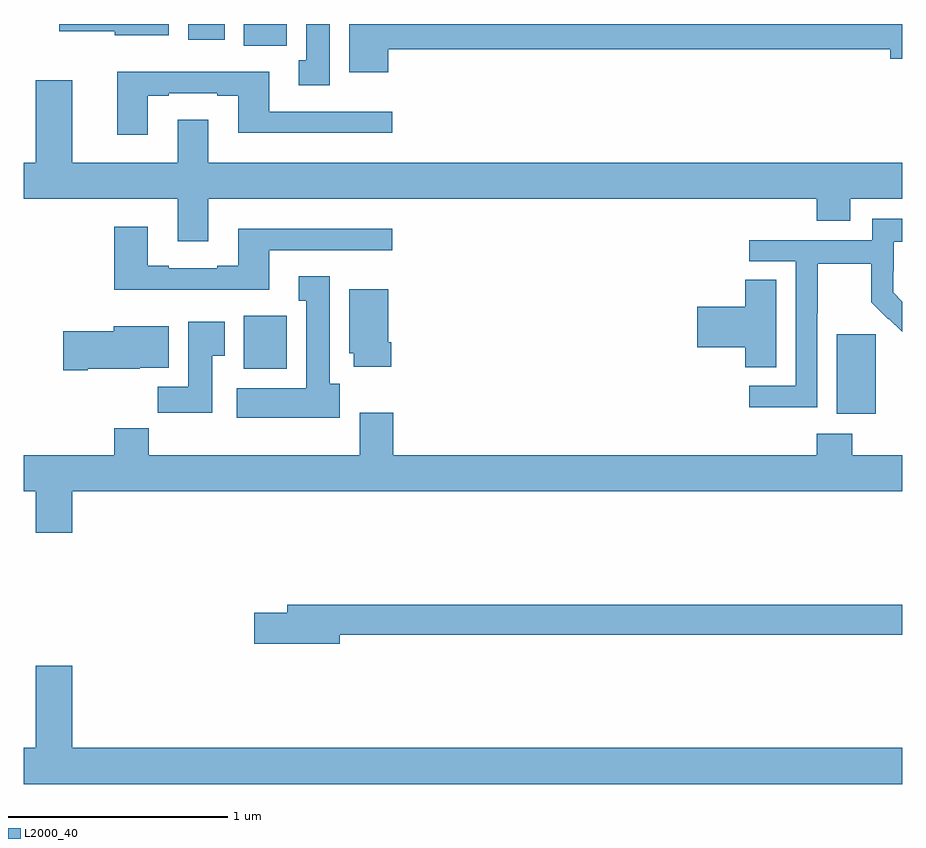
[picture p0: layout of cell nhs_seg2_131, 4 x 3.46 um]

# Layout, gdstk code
import gdstk
lib = gdstk.Library(unit=1e-6, precision=1e-09)
def R(c, l, rs):  # rectangles x0, y0, x1, y1
    for r in rs: c.add(gdstk.rectangle(r[:2], r[2:], *l))
def P(c, l, *ps):  # polygons
    for p in ps: c.add(gdstk.Polygon(p, *l))
L2000_40 = (2000, 40)

nhs_seg2_131 = lib.new_cell('nhs_seg2_131')
R(nhs_seg2_131, L2000_40, [(120.701,612.026,120.88,612.387), (118.001,612.23,118.198,612.472), (118.001,613.7,118.198,613.8), (117.749,613.728,117.916,613.8)])
P(nhs_seg2_131, L2000_40, [(118.393,613.8),(118.286,613.8),(118.286,613.634),(118.253,613.634),(118.253,613.521),(118.393,613.521)],
  [(118.66,613.684),(120.944,613.684),(120.944,613.642),(121,613.642),(121,613.8),(118.481,613.8),(118.481,613.58),(118.66,613.58)],
  [(117.661,613.8),(117.162,613.8),(117.162,613.766),(117.414,613.766),(117.414,613.748),(117.661,613.748)],
  [(117.565,613.473),(117.661,613.473),(117.661,613.485),(117.881,613.485),(117.881,613.473),(117.977,613.473),(117.977,613.304),(118.678,613.304),(118.678,613.401),(118.117,613.401),(118.117,613.582),(117.425,613.582),(117.425,613.296),(117.565,613.296)],
  [(117.841,613.004),(120.611,613.004),(120.611,612.905),(120.763,612.905),(120.763,613.004),(121,613.004),(121,613.168),(117.841,613.168),(117.841,613.363),(117.701,613.363),(117.701,613.168),(117.22,613.168),(117.22,613.543),(117.056,613.543),(117.056,613.168),(117,613.168),(117,613.004),(117.701,613.004),(117.701,612.81),(117.841,612.81)],
  [(120.612,612.484),(120.615,612.484),(120.615,612.708),(120.859,612.708),(120.859,612.533),(120.936,612.456),(120.939,612.459),(121,612.399),(121,612.536),(120.958,612.578),(120.958,612.675),(120.96,612.675),(120.96,612.809),(121,612.809),(121,612.913),(120.864,612.913),(120.864,612.816),(120.303,612.816),(120.303,612.72),(120.516,612.72),(120.516,612.153),(120.303,612.153),(120.303,612.055),(120.612,612.055)],
  [(118.117,612.771),(118.678,612.771),(118.678,612.868),(117.977,612.868),(117.977,612.7),(117.881,612.7),(117.881,612.687),(117.661,612.687),(117.661,612.7),(117.565,612.7),(117.565,612.877),(117.413,612.877),(117.413,612.59),(118.117,612.59)],
  [(118.438,612.162),(118.393,612.162),(118.393,612.652),(118.253,612.652),(118.253,612.539),(118.286,612.539),(118.286,612.142),(117.969,612.142),(117.969,612.008),(118.438,612.008)],
  [(120.427,612.635),(120.284,612.635),(120.284,612.512),(120.066,612.512),(120.066,612.329),(120.284,612.329),(120.284,612.238),(120.427,612.238)],
  [(118.673,612.352),(118.66,612.352),(118.66,612.592),(118.481,612.592),(118.481,612.3),(118.502,612.3),(118.502,612.24),(118.673,612.24)],
  [(117.859,612.289),(117.916,612.289),(117.916,612.445),(117.749,612.445),(117.749,612.148),(117.61,612.148),(117.61,612.03),(117.859,612.03)],
  [(117.292,612.23),(117.528,612.23),(117.528,612.236),(117.661,612.236),(117.661,612.424),(117.41,612.424),(117.41,612.401),(117.18,612.401),(117.18,612.223),(117.292,612.223)],
  [(117.22,611.672),(121,611.672),(121,611.836),(120.771,611.836),(120.771,611.935),(120.611,611.935),(120.611,611.836),(118.682,611.836),(118.682,612.031),(118.529,612.031),(118.529,611.836),(117.569,611.836),(117.569,611.96),(117.413,611.96),(117.413,611.836),(117,611.836),(117,611.672),(117.056,611.672),(117.056,611.484),(117.22,611.484)],
  [(118.438,611.02),(121,611.02),(121,611.156),(118.199,611.156),(118.199,611.12),(118.05,611.12),(118.05,610.978),(118.438,610.978)],
  [(121,610.504),(117.22,610.504),(117.22,610.879),(117.056,610.879),(117.056,610.504),(117,610.504),(117,610.34),(121,610.34)])

lib.write_gds('nhs_seg2_131.gds')
